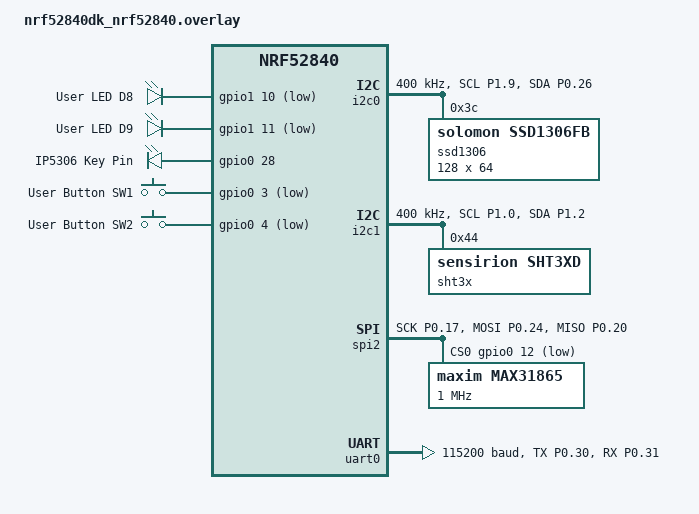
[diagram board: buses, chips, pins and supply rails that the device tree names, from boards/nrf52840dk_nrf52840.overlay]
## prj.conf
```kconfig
#
# Copyright (c) 2019 Nordic Semiconductor ASA
#
# SPDX-License-Identifier: LicenseRef-Nordic-5-Clause
#
CONFIG_NCS_SAMPLES_DEFAULTS=y

# Immediate logging is intentional while diagnosing Mesh publication/RX.
# It also makes SEGGER RTT output visible before any reset or suspend.
CONFIG_LOG_MODE_IMMEDIATE=y
CONFIG_LOG=y
CONFIG_PRINTK=y

# Low frequency clock configuration: use internal RC oscillator (safe fallback for custom boards)
CONFIG_CLOCK_CONTROL=y
CONFIG_CLOCK_CONTROL_NRF_K32SRC_RC=y
CONFIG_CLOCK_CONTROL_NRF_K32SRC_500PPM=y

# General configuration
CONFIG_NCS_APPLICATION_BOOT_BANNER_STRING="Gateway Node"
CONFIG_SYSTEM_WORKQUEUE_STACK_SIZE=2048
CONFIG_FLASH=y
CONFIG_FLASH_MAP=y
CONFIG_NVS=y
CONFIG_SETTINGS=y
CONFIG_NVS_LOOKUP_CACHE=y
CONFIG_SETTINGS_NVS_NAME_CACHE=y
CONFIG_HWINFO=y
CONFIG_DK_LIBRARY=y
CONFIG_SOC_FLASH_NRF_PARTIAL_ERASE=y

# Bluetooth configuration
CONFIG_BT=y
CONFIG_BT_DEVICE_NAME="Gateway Node"
CONFIG_BT_L2CAP_TX_BUF_COUNT=8
CONFIG_BT_OBSERVER=y
CONFIG_BT_PERIPHERAL=y
CONFIG_BT_SETTINGS=y
CONFIG_BT_MESH_PB_GATT=y
CONFIG_BT_MESH_GATT_PROXY=y

# Increase RX stack size to avoid overflow during provisioning
CONFIG_BT_RX_STACK_SIZE=2700

# Disable unused Bluetooth features
CONFIG_BT_CTLR_LE_ENC=n
CONFIG_BT_PHY_UPDATE=n
CONFIG_BT_CTLR_CHAN_SEL_2=n
CONFIG_BT_CTLR_MIN_USED_CHAN=n
CONFIG_BT_CTLR_PRIVACY=n

# Bluetooth Mesh configuration
CONFIG_BT_MESH=y
CONFIG_BT_MESH_RELAY=y
CONFIG_BT_MESH_FRIEND=n
CONFIG_BT_MESH_TX_SEG_MAX=10
CONFIG_BT_MESH_PROXY_USE_DEVICE_NAME=y
CONFIG_BT_MESH_DK_PROV=y
CONFIG_BT_MESH_RELAY_ENABLED=y
CONFIG_BT_MESH_RELAY_RETRANSMIT_COUNT=1
CONFIG_BT_MESH_RELAY_RETRANSMIT_INTERVAL=20
CONFIG_BT_MESH_CRPL=256
CONFIG_BT_MESH_MSG_CACHE_SIZE=64
CONFIG_BT_MESH_SUBNET_COUNT=1
CONFIG_BT_MESH_APP_KEY_COUNT=1
CONFIG_BT_MESH_MODEL_KEY_COUNT=2
CONFIG_BT_MESH_MODEL_GROUP_COUNT=4


# Bluetooth Mesh models
CONFIG_BT_MESH_ONOFF_SRV=y
CONFIG_BT_MESH_SENSOR_CLI=y
CONFIG_BT_MESH_SENSOR_CHANNELS_MAX=1

# Cấu hình hệ thống Logger và SEGGER RTT
CONFIG_USE_SEGGER_RTT=y
CONFIG_RTT_CONSOLE=y
CONFIG_SERIAL=n
CONFIG_UART_CONSOLE=n
CONFIG_STDOUT_CONSOLE=n
CONFIG_LOG_BACKEND_RTT=y
CONFIG_LOG_BACKEND_UART=n
CONFIG_LOG_PRINTK=y
CONFIG_LOG_DEFAULT_LEVEL=3

# Cấu hình mức LOG cho Bluetooth Mesh (Ẩn các log debug quét gói tin liên tục)
CONFIG_BT_MESH_LOG_LEVEL_INF=y
CONFIG_BT_MESH_NET_LOG_LEVEL_OFF=n

# Cấu hình phần cứng RF (Tăng lên công suất tối đa +8 dBm để sóng cực khỏe)
CONFIG_BT_CTLR_TX_PWR_DYNAMIC_CONTROL=y
CONFIG_BT_CTLR_TX_PWR_ANTENNA=-20

# Tăng stack size tránh tràn bộ nhớ gây treo chip
CONFIG_MAIN_STACK_SIZE=4096

# Sửa lỗi đồng bộ hàng đợi gửi tin BLE trên nRF54L15
CONFIG_BT_CONN_TX_NOTIFY_WQ=y

# Tăng số lượng bộ đệm advertiser để tránh nghẽn
CONFIG_BT_MESH_ADV_BUF_COUNT=32

# Cấu hình Segmented Messages để tránh lỗi nghẽn context khi gửi/nhận
CONFIG_BT_MESH_TX_SEG_MSG_COUNT=8
CONFIG_BT_MESH_RX_SEG_MSG_COUNT=8

# Vô hiệu hóa phần cứng CryptoCell CC310 để chạy mượt mà trên Renode không có phần cứng này
CONFIG_PSA_CRYPTO_DRIVER_CC3XX=n
CONFIG_CC3XX_BACKEND=n
CONFIG_ENTROPY_CC3XX=n
CONFIG_HW_CC3XX=n
CONFIG_ENTROPY_NRF5_RNG=y
```

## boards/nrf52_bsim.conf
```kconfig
# Disable SoftDevice Controller which is not supported on host compilation
CONFIG_BT_LL_SOFTDEVICE=n
CONFIG_BT_LL_SW_SPLIT=y

# Disable physical console/RTT backends
CONFIG_SERIAL=n
CONFIG_UART_CONSOLE=n
CONFIG_STDOUT_CONSOLE=n
CONFIG_USE_SEGGER_RTT=n
CONFIG_RTT_CONSOLE=n
CONFIG_LOG_BACKEND_RTT=n

# Disable physical HW flash partial erase configs since it is simulated in RAM
CONFIG_SOC_FLASH_NRF_PARTIAL_ERASE=n

# Disable CryptoCell which is not supported on native simulator
CONFIG_PSA_CRYPTO_DRIVER_CC3XX=n
CONFIG_CC3XX_BACKEND=n
CONFIG_ENTROPY_CC3XX=n
CONFIG_HW_CC3XX=n

# Enable standard POSIX entropy generator
CONFIG_TEST_RANDOM_GENERATOR=y

# Use legacy advertiser for compatibility on BabbleSim
CONFIG_BT_EXT_ADV=n

# Immediate logging to prevent log loss on simulation exit
CONFIG_LOG_MODE_IMMEDIATE=y
CONFIG_LOG_DEFAULT_LEVEL=3

# Keep simulation output lightweight: gateway is the only node expected to emit
# packet/accounting logs. Bluetooth Mesh internals stay quiet to avoid slowing
# down large 121/169-node simulations.
CONFIG_BT_MESH_LOG_LEVEL_WRN=y
CONFIG_BT_LOG_LEVEL_WRN=y

# Large network buffer scaling for simulation
CONFIG_BT_MESH_ADV_BUF_COUNT=128
CONFIG_BT_MESH_MSG_CACHE_SIZE=128
CONFIG_BT_MESH_TX_SEG_MSG_COUNT=8
CONFIG_BT_MESH_RX_SEG_MSG_COUNT=8

# Mesh bearer robustness for dense grid bursts. Relay retransmit only applies to
# stack-level relay nodes; application-level forwarding still uses model sends.
CONFIG_BT_MESH_RELAY_RETRANSMIT_COUNT=2
CONFIG_BT_MESH_RELAY_RETRANSMIT_INTERVAL=40
```

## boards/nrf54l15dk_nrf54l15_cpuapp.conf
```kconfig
#
# Copyright (c) 2024 Nordic Semiconductor ASA
#
# SPDX-License-Identifier: LicenseRef-Nordic-5-Clause
#
################################################################################
# Application overlay - nrf54l15

CONFIG_SOC_FLASH_NRF_PARTIAL_ERASE=n
CONFIG_SPI_NOR=n
CONFIG_NVS=n
CONFIG_NVS_LOOKUP_CACHE=n
CONFIG_SETTINGS_NVS_NAME_CACHE=n
CONFIG_ZMS=y
CONFIG_SETTINGS_ZMS_SECTOR_COUNT=8
CONFIG_ZMS_LOOKUP_CACHE=y
CONFIG_ZMS_LOOKUP_CACHE_SIZE=512
CONFIG_SETTINGS_ZMS_NAME_CACHE=y
CONFIG_SETTINGS_ZMS_NAME_CACHE_SIZE=512
CONFIG_ZMS_LOOKUP_CACHE_FOR_SETTINGS=y

# ==== CẤU HÌNH XUNG NHỊP THẤP 32kHz CHUẨN NRF54L ====
# Dòng nRF54L sử dụng driver CLOCK_CONTROL_NRF2 để quản lý LFCLK
CONFIG_CLOCK_CONTROL=y
CONFIG_CLOCK_CONTROL_NRF_K32SRC_XTAL=y

# Keep GRTC running on nRF54L15. Gateway normally stays awake for RX/scanning,
# but the controller/system timer should still use the nRF54L GRTC backend.
CONFIG_TICKLESS_KERNEL=y
CONFIG_NRF_GRTC_TIMER=y
CONFIG_NRF_GRTC_ALWAYS_ON=y
CONFIG_NRF_GRTC_START_SYSCOUNTER=y
CONFIG_NRF_GRTC_TIMER_AUTO_KEEP_ALIVE=y

# ==== CẤU HÌNH QUẢN LÝ RAM (RAM RETENTION) CHUẨN ====
# Bật tính năng lưu giữ trạng thái RAM khi ở chế độ nguồn thấp
CONFIG_RETAINED_MEM=y

# Runtime PM for non-radio peripherals. The gateway is not duty-cycled like
# leaves, but idle peripherals should still suspend automatically.
CONFIG_PM_DEVICE=y
CONFIG_PM_DEVICE_RUNTIME=y
```

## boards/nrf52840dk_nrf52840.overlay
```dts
/* Device Tree Overlay cho bo mạch nRF52840 Temperature Logger
 * Dựa trên sơ đồ phần cứng: ph_nRF52840_temperature_logger_hw.kicad_sch
 */

/ {
    aliases {
        led0 = &led0;
        led1 = &led1;
        sw0 = &button0;
        sw1 = &button1;
    };

    chosen {
        zephyr,entropy = &rng;
    };

    /* --- KHỐI USER LEDS --- */
    /* LED D8 và D9 kết nối lên +3V3, kích sáng ở mức Thấp (Active Low) */
    leds {
        compatible = "gpio-leds";
        led0: led_0 {
            gpios = <&gpio1 10 GPIO_ACTIVE_LOW>;
            label = "User LED D8";
        };
        led1: led_1 {
            gpios = <&gpio1 11 GPIO_ACTIVE_LOW>;
            label = "User LED D9";
        };
    };

    /* --- KHỐI IP5306 KEY --- */
    ip5306_pins {
        compatible = "gpio-leds";
        ip5306_key: ip5306_key_pin {
            gpios = <&gpio0 28 GPIO_ACTIVE_HIGH>;
            label = "IP5306 Key Pin";
        };
    };

    /* --- KHỐI USER BUTTONS --- */
    /* Nút SW1 và SW2 kết nối xuống GND, cần kéo lên (Pull-Up) và kích mức Thấp */
    buttons {
        compatible = "gpio-keys";
        button0: button_0 {
            gpios = <&gpio0 3 (GPIO_PULL_UP | GPIO_ACTIVE_LOW)>;
            label = "User Button SW1";
            zephyr,code = <INPUT_KEY_0>;
        };
        button1: button_1 {
            gpios = <&gpio0 4 (GPIO_PULL_UP | GPIO_ACTIVE_LOW)>;
            label = "User Button SW2";
            zephyr,code = <INPUT_KEY_1>;
        };
    };
};

/* --- CẤU HÌNH PINCTRL CHO CÁC CHUẨN GIAO TIẾP --- */
&pinctrl {
    /* Cấu hình chân cho I2C0 (OLED) */
    i2c0_default: i2c0_default {
        group1 {
            psels = <NRF_PSEL(TWIM_SCL, 1, 9)>,
                    <NRF_PSEL(TWIM_SDA, 0, 26)>;
            bias-pull-up;
        };
    };
    i2c0_sleep: i2c0_sleep {
        group1 {
            psels = <NRF_PSEL(TWIM_SCL, 1, 9)>,
                    <NRF_PSEL(TWIM_SDA, 0, 26)>;
            low-power-enable;
        };
    };

    /* Cấu hình chân cho I2C1 (SHT3x) */
    i2c1_default: i2c1_default {
        group1 {
            psels = <NRF_PSEL(TWIM_SCL, 1, 0)>,
                    <NRF_PSEL(TWIM_SDA, 1, 2)>;
            bias-pull-up;
        };
    };
    i2c1_sleep: i2c1_sleep {
        group1 {
            psels = <NRF_PSEL(TWIM_SCL, 1, 0)>,
                    <NRF_PSEL(TWIM_SDA, 1, 2)>;
            low-power-enable;
        };
    };

    /* Cấu hình chân cho SPI (MAX31865 / PT100) */
    spi2_default: spi2_default {
        group1 {
            psels = <NRF_PSEL(SPIM_SCK, 0, 17)>,
                    <NRF_PSEL(SPIM_MOSI, 0, 24)>,
                    <NRF_PSEL(SPIM_MISO, 0, 20)>;
        };
    };
    spi2_sleep: spi2_sleep {
        group1 {
            psels = <NRF_PSEL(SPIM_SCK, 0, 17)>,
                    <NRF_PSEL(SPIM_MOSI, 0, 24)>,
                    <NRF_PSEL(SPIM_MISO, 0, 20)>;
            low-power-enable;
        };
    };
    /* Cấu hình chân cho UART (RS485) */
    uart0_default: uart0_default {
        group1 {
            psels = <NRF_PSEL(UART_TX, 0, 30)>,
                    <NRF_PSEL(UART_RX, 0, 31)>;
        };
    };
    uart0_sleep: uart0_sleep {
        group1 {
            psels = <NRF_PSEL(UART_TX, 0, 30)>,
                    <NRF_PSEL(UART_RX, 0, 31)>;
            low-power-enable;
        };
    };
};

/* --- KHỐI GIAO TIẾP I2C0: MÀN HÌNH OLED SSD1306 --- */
&i2c0 {
    compatible = "nordic,nrf-twim";
    status = "okay";
    pinctrl-0 = <&i2c0_default>;
    pinctrl-1 = <&i2c0_sleep>;
    pinctrl-names = "default", "sleep";
    clock-frequency = <I2C_BITRATE_FAST>; /* 400kHz */

    /* Màn hình OLED SSD1306 (128x64) */
    ssd1306: ssd1306@3c {
        compatible = "solomon,ssd1306fb";
        reg = <0x3c>;
        width = <128>;
        height = <64>;
        segment-offset = <0>;
        page-offset = <0>;
        display-offset = <0>;
        multiplex-ratio = <63>;
        prechargep = <0x22>;
    };
};

/* --- KHỐI GIAO TIẾP I2C1: CẢM BIẾN SHT3X --- */
&i2c1 {
    compatible = "nordic,nrf-twim";
    status = "okay";
    pinctrl-0 = <&i2c1_default>;
    pinctrl-1 = <&i2c1_sleep>;
    pinctrl-names = "default", "sleep";
    clock-frequency = <I2C_BITRATE_FAST>; /* 400kHz */

    /* Cảm biến SHT3x */
    sht3x: sht3x@44 {
        compatible = "sensirion,sht3xd";
        reg = <0x44>;
    };
};

/* --- KHỐI GIAO TIẾP SPI: MAX31865 (CẢM BIẾN PT100) --- */
&spi2 {
    compatible = "nordic,nrf-spim";
    status = "okay";
    pinctrl-0 = <&spi2_default>;
    pinctrl-1 = <&spi2_sleep>;
    pinctrl-names = "default", "sleep";

    /* Chân Chip Select (CS) */
    cs-gpios = <&gpio0 12 GPIO_ACTIVE_LOW>;

    max31865: max31865@0 {
        compatible = "maxim,max31865";
        reg = <0>;
        spi-max-frequency = <1000000>;
        spi-cpha;
        resistance-at-zero = <100>;
        resistance-reference = <400>;
    };
};

/* Disable spi1 which is enabled by default on nrf52840dk to avoid conflict with i2c1 */
&spi1 {
    status = "disabled";
};

/* --- KHỐI GIAO TIẾP UART: RS485 INTERFACE --- */
&uart0 {
    compatible = "nordic,nrf-uarte";
    status = "okay";
    current-speed = <115200>;
    pinctrl-0 = <&uart0_default>;
    pinctrl-1 = <&uart0_sleep>;
    pinctrl-names = "default", "sleep";
};
```

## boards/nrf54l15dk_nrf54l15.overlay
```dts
&gpio0 {
    status = "okay";
};

&gpio1 {
    status = "okay";
};

&gpio2 {
    status = "okay";
};

/* Bật lại UART để xem log và mã OOB provisioning */
&uart20 {
    status = "okay";
};

&i2c21 {
    compatible = "nordic,nrf-twim";
    status = "okay";
    clock-frequency = <I2C_BITRATE_STANDARD>; /* 100kHz */
    pinctrl-0 = <&i2c21_default>;
    pinctrl-1 = <&i2c21_sleep>;
    pinctrl-names = "default", "sleep";

    mysensor: mysensor@55{
        compatible = "i2c-device";
        reg = <0x55>;
        label = "MYSENSOR";
    };
};

&pinctrl {
    i2c21_default: i2c21_default {
        group1 {
            psels = <NRF_PSEL(TWIM_SCL, 1, 11)>, <NRF_PSEL(TWIM_SDA, 1, 12)>;
            bias-pull-up;
        };
    };
    
    i2c21_sleep: i2c21_sleep {
        group1 {
            psels = <NRF_PSEL(TWIM_SCL, 1, 11)>, <NRF_PSEL(TWIM_SDA, 1, 12)>;
            low-power-enable;
        };
    };
};

/ {
    leds {
        compatible = "gpio-leds";
        led0: led_0 {
            gpios = <&gpio2 9 GPIO_ACTIVE_LOW>;
            label = "Green LED 0";
        };
        led1: led_1 {
            gpios = <&gpio2 10 GPIO_ACTIVE_LOW>;
            label = "Green LED 1";
        };
        led2: led_2 {
            gpios = <&gpio2 7 GPIO_ACTIVE_LOW>;
            label = "Green LED 2";
        };
        led3: led_3 {
            gpios = <&gpio1 14 GPIO_ACTIVE_LOW>;
            label = "Green LED 3";
        };
    };

    buttons {
        compatible = "gpio-keys";
        button0: button_0 {
            gpios = <&gpio1 13 (GPIO_PULL_UP | GPIO_ACTIVE_LOW)>;
            label = "Push button switch 0";
            zephyr,code = <INPUT_KEY_0>;
        };
        button1: button_1 {
            gpios = <&gpio1 4 (GPIO_PULL_UP | GPIO_ACTIVE_LOW)>;
            label = "Push button switch 1";
            zephyr,code = <INPUT_KEY_1>;
        };
        /* Đã thêm lại button2 và button3 vào đúng vị trí để tránh lỗi cú pháp */
        button2: button_2 {
            gpios = <&gpio1 6 (GPIO_PULL_UP | GPIO_ACTIVE_LOW)>; /* LƯU Ý: Đổi số '6' thành chân GPIO thực tế trên mạch của bạn */
            label = "Push button switch 2";
            zephyr,code = <INPUT_KEY_2>;
        };
        button3: button_3 {
            gpios = <&gpio1 7 (GPIO_PULL_UP | GPIO_ACTIVE_LOW)>; /* LƯU Ý: Đổi số '7' thành chân GPIO thực tế trên mạch của bạn */
            label = "Push button switch 3";
            zephyr,code = <INPUT_KEY_3>;
        };
    };

    aliases {
        led0 = &led0;
        led1 = &led1;
        led2 = &led2;
        led3 = &led3;
        sw0 = &button0;
        sw1 = &button1;
        sw2 = &button2; /* Thêm alias cho switch 2 */
        sw3 = &button3; /* Thêm alias cho switch 3 */
        i2c-0 = &i2c21;
    };
};

&gpiote30 {
    status = "okay";
};
```

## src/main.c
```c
/*
 * Copyright (c) 2019 Nordic Semiconductor ASA
 *
 * SPDX-License-Identifier: LicenseRef-Nordic-5-Clause
 */

/** @file
 *  @brief Nordic mesh light sample
 */
#include <zephyr/bluetooth/bluetooth.h>
#include <bluetooth/mesh/models.h>
#include <bluetooth/mesh/dk_prov.h>
#include <dk_buttons_and_leds.h>
#include "model_handler.h"
#include "smp_bt.h"

static void bt_ready(int err)
{
	if (err) {
		printk("Bluetooth init failed (err %d)\n", err);
		return;
	}

	printk("Bluetooth initialized\n");

	err = dk_leds_init();
	if (err) {
		printk("Initializing LEDs failed (err %d)\n", err);
		return;
	}

	err = dk_buttons_init(NULL);
	if (err) {
		printk("Initializing buttons failed (err %d)\n", err);
		return;
	}

	err = bt_mesh_init(bt_mesh_dk_prov_init(), model_handler_init());
	if (err) {
		printk("Initializing mesh failed (err %d)\n", err);
		return;
	}

	if (IS_ENABLED(CONFIG_SETTINGS)) {
		settings_load();
	}

#if defined(CONFIG_BOARD_NRF52_BSIM)
	check_and_self_provision();
#else
	/* This will be a no-op if settings_load() loaded provisioning info */
	bt_mesh_prov_enable(BT_MESH_PROV_ADV | BT_MESH_PROV_GATT);
#endif



	printk("Mesh initialized\n");

	if (IS_ENABLED(CONFIG_MCUMGR_TRANSPORT_BT)) {
		err = smp_dfu_init();
		if (err) {
			printk("Unable to initialize DFU (err %d)\n", err);
		}
	}
}

int main(void)
{
	int err;

	printk("Initializing...\n");

	err = bt_enable(bt_ready);
	if (err) {
		printk("Bluetooth init failed (err %d)\n", err);
	}

	return 0;
}
```

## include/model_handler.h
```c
/*
 * Copyright (c) 2019 Nordic Semiconductor ASA
 *
 * SPDX-License-Identifier: LicenseRef-Nordic-5-Clause
 */

/**
 * @file
 * @brief Model handler
 */

#ifndef MODEL_HANDLER_H__
#define MODEL_HANDLER_H__

#include <zephyr/bluetooth/mesh.h>

#ifdef __cplusplus
extern "C" {
#endif

const struct bt_mesh_comp *model_handler_init(void);
void check_and_self_provision(void);
int send_special_sensor_message(uint16_t dst_addr, uint8_t data_val);


#ifdef __cplusplus
}
#endif

#endif /* MODEL_HANDLER_H__ */
```

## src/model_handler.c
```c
/* Gateway composition and standard Sensor Client handling. */

#include <zephyr/bluetooth/bluetooth.h>
#include <zephyr/bluetooth/mesh.h>
#include <bluetooth/mesh/models.h>
#include <bluetooth/mesh/sensor_types.h>
#include <dk_buttons_and_leds.h>
#include <zephyr/logging/log.h>
#include <stdlib.h>

#include "model_handler.h"

extern uint16_t bt_mesh_primary_addr(void);

LOG_MODULE_REGISTER(model_handler, LOG_LEVEL_INF);

#define SENSOR_GROUP_ADDR 0xC000
#define MAX_TRACKED_SOURCES 32
#define SENSOR_RX_LED 1
#define SENSOR_RX_LED_DURATION K_SECONDS(1)

struct source_measurement {
	uint16_t addr;
	uint32_t first_seen_ms;
	uint32_t last_seen_ms;
	uint32_t last_report_ms;
	uint8_t data;
	uint8_t battery;
	bool data_valid;
	bool battery_valid;
};

static struct source_measurement measurements[MAX_TRACKED_SOURCES];
static struct bt_mesh_sensor_cli sensor_cli;
static struct k_work_delayable rx_led_off_work;
static struct k_work_delayable mesh_config_work;
static uint32_t sensor_callback_count;
static uint32_t complete_packet_count;

static void rx_led_off_handler(struct k_work *work)
{
	ARG_UNUSED(work);
	dk_set_led(SENSOR_RX_LED, false);
}

static void indicate_sensor_rx(void)
{
	dk_set_led(SENSOR_RX_LED, true);
	k_work_reschedule(&rx_led_off_work, SENSOR_RX_LED_DURATION);
}

static struct source_measurement *measurement_for(uint16_t addr)
{
	struct source_measurement *free_slot = NULL;

	for (int i = 0; i < ARRAY_SIZE(measurements); ++i) {
		if (measurements[i].addr == addr) {
			return &measurements[i];
		}
		if (!measurements[i].addr && !free_slot) {
			free_slot = &measurements[i];
		}
	}

	if (free_slot) {
		free_slot->addr = addr;
		free_slot->first_seen_ms = k_uptime_get_32();
		return free_slot;
	}

	/* Replace the oldest source if the table is full. */
	struct source_measurement *oldest = &measurements[0];
	for (int i = 1; i < ARRAY_SIZE(measurements); ++i) {
		if (measurements[i].last_seen_ms < oldest->last_seen_ms) {
			oldest = &measurements[i];
		}
	}
	*oldest = (struct source_measurement){
		.addr = addr,
		.first_seen_ms = k_uptime_get_32(),
	};
	return oldest;
}

static void log_sensor_client_state(const char *tag)
{
	const struct bt_mesh_model *model = sensor_cli.model;

	if (!model) {
		LOG_WRN("GW_MODEL %s unavailable", tag);
		return;
	}

	LOG_INF("GW_MODEL %s primary=0x%04x keys=%u groups=%u",
		tag, bt_mesh_primary_addr(), model->keys_cnt, model->groups_cnt);
	for (int i = 0; i < model->keys_cnt; ++i) {
		LOG_INF("GW_MODEL %s key[%d]=0x%03x", tag, i, model->keys[i]);
	}
	for (int i = 0; i < model->groups_cnt; ++i) {
		LOG_INF("GW_MODEL %s group[%d]=0x%04x", tag, i, model->groups[i]);
	}
}

static void mesh_config_handler(struct k_work *work)
{
	ARG_UNUSED(work);
	const struct bt_mesh_model *model = sensor_cli.model;

	if (!model) {
		LOG_WRN("GW_MODEL configuration delayed: Sensor Client not ready");
		k_work_reschedule(&mesh_config_work, K_SECONDS(2));
		return;
	}

	bool has_subscription = false;
	for (int i = 0; i < model->groups_cnt; ++i) {
		if (model->groups[i] != BT_MESH_ADDR_UNASSIGNED) {
			has_subscription = true;
			break;
		}
	}
	bool has_key = (model->keys_cnt > 0 && model->keys[0] != BT_MESH_KEY_UNUSED);

	if (bt_mesh_is_provisioned() && has_subscription && has_key) {
		static bool state_logged = false;
		if (!state_logged) {
			log_sensor_client_state("configured");
			state_logged = true;
		}
		LOG_INF("GW_STATUS Listening on group 0x%04x... total_rx=%u, complete_packets=%u, uptime=%us",
			model->groups[0], sensor_callback_count, complete_packet_count, k_uptime_get_32() / 1000);
		k_work_reschedule(&mesh_config_work, K_SECONDS(30));
	} else {
		LOG_WRN("GW_MODEL status: provisioned=%u, has_key=%u, has_sub=%u (Use nRF Mesh app to Bind AppKey & Subscribe Sensor Client)",
			bt_mesh_is_provisioned(), has_key, has_subscription);
		k_work_reschedule(&mesh_config_work, K_SECONDS(5));
	}
}

static void print_measurement(struct source_measurement *m,
				      const struct bt_mesh_msg_ctx *ctx)
{
	uint32_t now = k_uptime_get_32();
	uint32_t delta_ms = (m->last_report_ms > 0) ? (now - m->last_report_ms) : 0;

	if (m->data_valid && m->battery_valid) {
		m->last_report_ms = now;
		complete_packet_count++;

		LOG_INF("=========================================================================");
		LOG_INF("GW_PACKET RECEIVED! count=%u t_ms=%u src=0x%04x motion=%u%% battery=%u%% "
			"delta_ms=%u ttl=%u dst=0x%04x rssi=%d",
			complete_packet_count, now, m->addr, m->data, m->battery,
			delta_ms, ctx->recv_ttl, ctx->recv_dst, ctx->recv_rssi);
		LOG_INF("=========================================================================");

		m->data_valid = false;
		m->battery_valid = false;
		m->first_seen_ms = now;
	} else if (m->data_valid) {
		m->last_report_ms = now;
		complete_packet_count++;

		LOG_INF("=========================================================================");
		LOG_INF("GW_PACKET RECEIVED! count=%u t_ms=%u src=0x%04x motion=%u%% "
			"delta_ms=%u ttl=%u dst=0x%04x rssi=%d",
			complete_packet_count, now, m->addr, m->data,
			delta_ms, ctx->recv_ttl, ctx->recv_dst, ctx->recv_rssi);
		LOG_INF("=========================================================================");
	}
}

static void sensor_data_cb(struct bt_mesh_sensor_cli *cli,
				   struct bt_mesh_msg_ctx *ctx,
				   const struct bt_mesh_sensor_type *type,
				   const struct bt_mesh_sensor_value *value)
{
	ARG_UNUSED(cli);
	indicate_sensor_rx();
	struct source_measurement *m = measurement_for(ctx->addr);
	uint32_t now = k_uptime_get_32();
	if (!m->data_valid && !m->battery_valid) {
		m->first_seen_ms = now;
	}
	m->last_seen_ms = now;
	sensor_callback_count++;

	float value_f;
	enum bt_mesh_sensor_value_status value_status =
		bt_mesh_sensor_value_to_float(value, &value_f);
	if (!bt_mesh_sensor_value_status_is_numeric(value_status)) {
		LOG_WRN("[SENSOR RX] src=0x%04x dst=0x%04x property=0x%04x "
			 "non-numeric status=%d ttl=%u rssi=%d",
			 ctx->addr, ctx->recv_dst, type->id, value_status,
			 ctx->recv_ttl, ctx->recv_rssi);
		return;
	}
	uint8_t percent = (uint8_t)CLAMP((int)value_f, 0, 100);

	LOG_INF("GW_RX count=%u t_ms=%u src=0x%04x dst=0x%04x property=0x%04x "
		"value=%u%% ttl=%u rssi=%d",
		sensor_callback_count, now, ctx->addr, ctx->recv_dst, type->id, percent,
		ctx->recv_ttl, ctx->recv_rssi);

	if (type == &bt_mesh_sensor_motion_sensed ||
	    type->id == bt_mesh_sensor_motion_sensed.id ||
	    type->id == 0x0042) {
		m->data = percent;
		m->data_valid = true;
	} else if (type == &bt_mesh_sensor_present_dev_op_efficiency ||
		   type->id == bt_mesh_sensor_present_dev_op_efficiency.id ||
		   type->id == 0x0054) {
		m->battery = percent;
		m->battery_valid = true;
	} else {
		m->data = percent;
		m->data_valid = true;
		LOG_WRN("[SENSOR RX] Known property 0x%04x value=%u%% from 0x%04x",
			type->id, percent, ctx->addr);
	}

	print_measurement(m, ctx);
}

static void sensor_unknown_type_cb(struct bt_mesh_sensor_cli *cli,
				   struct bt_mesh_msg_ctx *ctx, uint16_t id,
				   uint32_t opcode)
{
	ARG_UNUSED(cli);
	indicate_sensor_rx();
	sensor_callback_count++;
	LOG_WRN("GW_RX_UNKNOWN count=%u t_ms=%u src=0x%04x dst=0x%04x "
		 "property=0x%04x opcode=0x%08x ttl=%u rssi=%d",
		 sensor_callback_count, k_uptime_get_32(), ctx->addr, ctx->recv_dst, id, opcode,
		 ctx->recv_ttl, ctx->recv_rssi);
}

static const struct bt_mesh_sensor_cli_handlers sensor_handlers = {
	.data = sensor_data_cb,
	.unknown_type = sensor_unknown_type_cb,
};

#define SPECIAL_SENSOR_OP BT_MESH_MODEL_OP_2(0x82, 0x99)

int send_special_sensor_message(uint16_t dst_addr, uint8_t data_val)
{
	if (!sensor_cli.model) {
		LOG_WRN("GW_TX_SPECIAL: sensor_cli model not initialized");
		return -EINVAL;
	}

	uint16_t app_idx = (sensor_cli.model->keys_cnt > 0) ? sensor_cli.model->keys[0] : BT_MESH_KEY_UNUSED;
	if (app_idx == BT_MESH_KEY_UNUSED) {
		LOG_WRN("GW_TX_SPECIAL: AppKey not bound yet on Gateway");
		return -EADDRNOTAVAIL;
	}

	NET_BUF_SIMPLE_DEFINE(msg, 16);
	bt_mesh_model_msg_init(&msg, SPECIAL_SENSOR_OP);

	/* Add 8-bit data field with value = data_val (e.g. 1) */
	net_buf_simple_add_u8(&msg, data_val);

	struct bt_mesh_msg_ctx ctx = {
		.addr     = dst_addr,
		.net_idx  = 0,
		.app_idx  = app_idx,
		.send_ttl = 1, /* TTL = 1: Direct 1-hop BLE ADV broadcast, NO RELAY */
	};

	int err = bt_mesh_model_send(sensor_cli.model, &ctx, &msg, NULL, NULL);
	if (err) {
		LOG_ERR("GW_TX_SPECIAL_FAIL dst=0x%04x err=%d", dst_addr, err);
	} else {
		LOG_INF("GW_TX_SPECIAL_OK dst=0x%04x op=0x%04x data=%u ttl=1 (Direct 1-hop transmission without relay)",
			dst_addr, SPECIAL_SENSOR_OP, data_val);
	}

	return err;
}

static void onoff_set(struct bt_mesh_onoff_srv *srv, struct bt_mesh_msg_ctx *ctx,
			      const struct bt_mesh_onoff_set *set,
			      struct bt_mesh_onoff_status *rsp)
{
	ARG_UNUSED(srv);
	ARG_UNUSED(ctx);
	rsp->present_on_off = set->on_off;
	rsp->target_on_off = set->on_off;
	rsp->remaining_time = 0;
	dk_set_led(0, set->on_off);

	if (set->on_off) {
		LOG_INF("GW_ONOFF ON received from nRF Mesh app -> Broadcasting 1-hop Special Sensor Message (data=1, TTL=1) to ALL NODES (0xFFFF)");
		send_special_sensor_message(BT_MESH_ADDR_ALL_NODES, 1);
	} else {
		LOG_INF("GW_ONOFF OFF received from nRF Mesh app -> Broadcasting 1-hop Special Sensor Message (data=0, TTL=1) to ALL NODES (0xFFFF)");
		send_special_sensor_message(BT_MESH_ADDR_ALL_NODES, 0);
	}
}

static void onoff_get(struct bt_mesh_onoff_srv *srv, struct bt_mesh_msg_ctx *ctx,
			      struct bt_mesh_onoff_status *rsp)
{
	ARG_UNUSED(srv);
	ARG_UNUSED(ctx);
	rsp->present_on_off = 0;
	rsp->target_on_off = 0;
	rsp->remaining_time = 0;
}

static const struct bt_mesh_onoff_srv_handlers onoff_handlers = {
	.set = onoff_set,
	.get = onoff_get,
};

static struct bt_mesh_onoff_srv onoff_srv = BT_MESH_ONOFF_SRV_INIT(&onoff_handlers);

static bool attention;
static struct k_work_delayable attention_blink_work;

static void attention_blink(struct k_work *work)
{
	ARG_UNUSED(work);
	if (attention) {
		dk_set_leds(DK_ALL_LEDS_MSK);
		k_work_reschedule(&attention_blink_work, K_MSEC(100));
	} else {
		dk_set_leds(DK_NO_LEDS_MSK);
	}
}

static void attention_on(const struct bt_mesh_model *mod)
{
	ARG_UNUSED(mod);
	attention = true;
	k_work_reschedule(&attention_blink_work, K_NO_WAIT);
}

static void attention_off(const struct bt_mesh_model *mod)
{
	ARG_UNUSED(mod);
	attention = false;
}

static const struct bt_mesh_health_srv_cb health_srv_cb = {
	.attn_on = attention_on,
	.attn_off = attention_off,
};
static struct bt_mesh_health_srv health_srv = { .cb = &health_srv_cb };
BT_MESH_HEALTH_PUB_DEFINE(health_pub, 0);

static struct bt_mesh_elem elements[] = {
	BT_MESH_ELEM(1,
		BT_MESH_MODEL_LIST(BT_MESH_MODEL_CFG_SRV,
			BT_MESH_MODEL_HEALTH_SRV(&health_srv, &health_pub),
			BT_MESH_MODEL_SENSOR_CLI(&sensor_cli)),
		BT_MESH_MODEL_NONE),
	BT_MESH_ELEM(2,
		BT_MESH_MODEL_LIST(BT_MESH_MODEL_ONOFF_SRV(&onoff_srv)),
		BT_MESH_MODEL_NONE),
};

static const struct bt_mesh_comp comp = {
	.cid = CONFIG_BT_COMPANY_ID,
	.elem = elements,
	.elem_count = ARRAY_SIZE(elements),
};

const struct bt_mesh_comp *model_handler_init(void)
{
	sensor_cli = (struct bt_mesh_sensor_cli)BT_MESH_SENSOR_CLI_INIT(&sensor_handlers);
	k_work_init_delayable(&attention_blink_work, attention_blink);
	k_work_init_delayable(&rx_led_off_work, rx_led_off_handler);
	k_work_init_delayable(&mesh_config_work, mesh_config_handler);
	dk_set_led(SENSOR_RX_LED, false);
	sensor_callback_count = 0;
	complete_packet_count = 0;
	LOG_INF("GW_INIT Sensor Client initialized, waiting for Sensor Status");
	k_work_reschedule(&mesh_config_work, K_SECONDS(2));
	return &comp;
}

void check_and_self_provision(void)
{
#if defined(CONFIG_BOARD_NRF52_BSIM)
	const char *addr_str = getenv("NODE_ADDR");
	if (!addr_str) {
		return;
	}
	uint16_t addr = (uint16_t)strtoul(addr_str, NULL, 0);
	if (!addr) {
		return;
	}
	static const uint8_t net_key[16] = {
		0x12, 0x34, 0x56, 0x78, 0x9a, 0xbc, 0xde, 0xf0,
		0x12, 0x34, 0x56, 0x78, 0x9a, 0xbc, 0xde, 0xf0,
	};
	static const uint8_t dev_key[16] = {
		0x11, 0x22, 0x33, 0x44, 0x55, 0x66, 0x77, 0x88,
		0x99, 0xaa, 0xbb, 0xcc, 0xdd, 0xee, 0xff, 0x00,
	};
	static const uint8_t app_key[16] = {
		0xaa, 0xbb, 0xcc, 0xdd, 0xee, 0xff, 0x00, 0x11,
		0x22, 0x33, 0x44, 0x55, 0x66, 0x77, 0x88, 0x99,
	};
	int err = bt_mesh_provision(net_key, 0, 0, 0, addr, dev_key);
	if (err && err != -EALREADY) {
		return;
	}
	err = bt_mesh_app_key_add(0, 0, app_key);
	if (err && err != -EALREADY) {
		return;
	}
	for (int i = 0; i < ARRAY_SIZE(elements); ++i) {
		for (int j = 0; j < elements[i].model_count; ++j) {
			struct bt_mesh_model *model = &elements[i].models[j];
			if (model->id != BT_MESH_MODEL_ID_CFG_SRV &&
			    model->id != BT_MESH_MODEL_ID_HEALTH_SRV &&
			    model->keys_cnt > 0) {
				model->keys[0] = 0;
			}
		}
	}

	if (sensor_cli.model && sensor_cli.model->groups && sensor_cli.model->groups_cnt > 0) {
		sensor_cli.model->groups[0] = SENSOR_GROUP_ADDR;
	}
#endif
}
```
